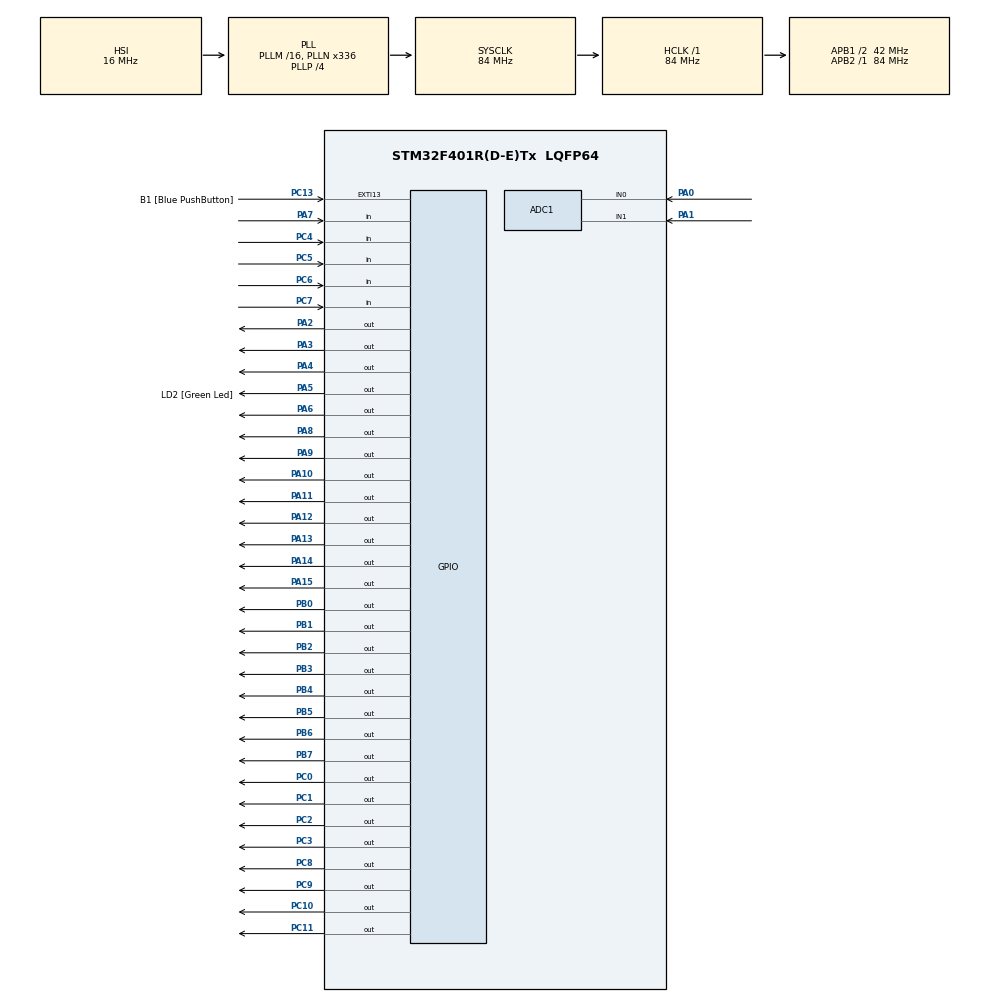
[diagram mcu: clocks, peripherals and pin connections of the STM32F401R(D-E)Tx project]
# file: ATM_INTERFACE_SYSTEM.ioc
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ADC1.Channel-0\#ChannelRegularConversion=ADC_CHANNEL_0
ADC1.NbrOfConversionFlag=1
ADC1.Rank-0\#ChannelRegularConversion=1
ADC1.SamplingTime-0\#ChannelRegularConversion=ADC_SAMPLETIME_3CYCLES
ADC1.master=1
Mcu.Family=STM32F4
Mcu.Name=STM32F401R(D-E)Tx
Mcu.Package=LQFP64
NVIC.PriorityGroup=NVIC_PRIORITYGROUP_4
PA0-WKUP.Signal=ADCx_IN0
PA1.Signal=ADCx_IN1
PA10.Signal=GPIO_Output
PA11.Signal=GPIO_Output
PA12.Signal=GPIO_Output
PA13.Signal=GPIO_Output
PA14.Signal=GPIO_Output
PA15.Signal=GPIO_Output
PA2.Signal=GPIO_Output
PA3.Signal=GPIO_Output
PA4.Signal=GPIO_Output
PA5.GPIO_Label=LD2 [Green Led]
PA5.GPIO_Mode=GPIO_MODE_OUTPUT_PP
PA5.GPIO_PuPd=GPIO_NOPULL
PA5.GPIO_Speed=GPIO_SPEED_FREQ_LOW
PA5.Signal=GPIO_Output
PA6.Signal=GPIO_Output
PA7.GPIO_PuPd=GPIO_PULLUP
PA7.Signal=GPIO_Input
PA8.Signal=GPIO_Output
PA9.Signal=GPIO_Output
PB0.Signal=GPIO_Output
PB1.Signal=GPIO_Output
PB2.Signal=GPIO_Output
PB3.Signal=GPIO_Output
PB4.Signal=GPIO_Output
PB5.Signal=GPIO_Output
PB6.Signal=GPIO_Output
PB7.Signal=GPIO_Output
PC0.Signal=GPIO_Output
PC1.Signal=GPIO_Output
PC10.Signal=GPIO_Output
PC11.Signal=GPIO_Output
PC13-ANTI_TAMP.GPIO_Label=B1 [Blue PushButton]
PC13-ANTI_TAMP.GPIO_ModeDefaultEXTI=GPIO_MODE_IT_FALLING
PC13-ANTI_TAMP.GPIO_PuPd=GPIO_NOPULL
PC13-ANTI_TAMP.Signal=GPXTI13
PC14-OSC32_IN.Mode=LSE-External-Oscillator
PC14-OSC32_IN.Signal=RCC_OSC32_IN
PC15-OSC32_OUT.Mode=LSE-External-Oscillator
PC15-OSC32_OUT.Signal=RCC_OSC32_OUT
PC2.Signal=GPIO_Output
PC3.Signal=GPIO_Output
PC4.GPIO_PuPd=GPIO_PULLUP
PC4.Signal=GPIO_Input
PC5.GPIO_PuPd=GPIO_PULLUP
PC5.Signal=GPIO_Input
PC6.GPIO_PuPd=GPIO_PULLUP
PC6.Signal=GPIO_Input
PC7.GPIO_PuPd=GPIO_PULLUP
PC7.Signal=GPIO_Input
PC8.Signal=GPIO_Output
PC9.Signal=GPIO_Output
PH0\ -\ OSC_IN.Mode=HSE-External-Clock-Source
PH0\ -\ OSC_IN.Signal=RCC_OSC_IN
PH1\ -\ OSC_OUT.Mode=HSE-External-Clock-Source
PH1\ -\ OSC_OUT.Signal=RCC_OSC_OUT
ProjectManager.HeapSize=0x200
ProjectManager.StackSize=0x400
ProjectManager.TargetToolchain=STM32CubeIDE
RCC.48MHZClocksFreq_Value=48000000
RCC.AHBFreq_Value=84000000
RCC.APB1CLKDivider=RCC_HCLK_DIV2
RCC.APB1Freq_Value=42000000
RCC.APB1TimFreq_Value=84000000
RCC.APB2Freq_Value=84000000
RCC.APB2TimFreq_Value=84000000
RCC.CortexFreq_Value=84000000
RCC.HCLKFreq_Value=84000000
RCC.HSE_VALUE=8000000
RCC.HSI_VALUE=16000000
RCC.PLLN=336
RCC.PLLP=RCC_PLLP_DIV4
RCC.PLLQ=7
RCC.SYSCLKFreq_VALUE=84000000
RCC.SYSCLKSource=RCC_SYSCLKSOURCE_PLLCLK
RCC.VCOOutputFreq_Value=336000000
SH.ADCx_IN0.0=ADC1_IN0,IN0
SH.ADCx_IN1.0=ADC1_IN1,IN1
board=NUCLEO-F401RE

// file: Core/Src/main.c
/* USER CODE BEGIN Header */
/**
 ******************************************************************************
 * @file           : main.c
 * @brief          : Main program body
 ******************************************************************************
 * @attention
 *
 * Copyright (c) 2026 STMicroelectronics.
 * All rights reserved.
 *
 * This software is licensed under terms that can be found in the LICENSE file
 * in the root directory of this software component.
 * If no LICENSE file comes with this software, it is provided AS-IS.
 *
 ******************************************************************************
 */
/* USER CODE END Header */
#include "main.h"
/* USER CODE BEGIN Includes */
#include "stdio.h"
#include "string.h"
/* USER CODE END Includes */

/* USER CODE BEGIN PD */
void lcd_init();
void lcd_cmd(unsigned char);
void lcd_data(unsigned char);
void lcd_str(const char *p);
char get_key(void);
void display_num(uint16_t num);
void show_seg(uint8_t pattern);
uint16_t read_joystick(void);
void lcd_set_cursor(uint8_t, uint8_t);
/* USER CODE END PD */

ADC_HandleTypeDef hadc1;

void SystemClock_Config(void);
static void MX_GPIO_Init(void);
static void MX_ADC1_Init(void);

/* USER CODE BEGIN 0 */

//for lcd data
int data_line[8] = { GPIO_PIN_8, GPIO_PIN_9, GPIO_PIN_10, GPIO_PIN_11,
		GPIO_PIN_12, GPIO_PIN_13, GPIO_PIN_14, GPIO_PIN_15 };

// Common Anode Lookup Table (0-9)
const uint8_t ca_map[10] = {
    0xC0, // 0
    0xF9, // 1
    0xA4, // 2
    0xB0, // 3
    0x99, // 4
    0x92, // 5
    0x82, // 6
    0xF8, // 7
    0x80, // 8
    0x90  // 9
};

//----------------------------ATM MENU------------------------------------------
typedef enum {
	STATE_ENTER_PIN, STATE_MENU, STATE_BALANCE, STATE_WITHDRAW, STATE_TOKEN,
} Atm_state;

//--------------------------MENU OPTIONS------------------------------------------
const char *menu_options[] = { "1. Check Balance", "2. Withdraw Amount",
		"3. View Token" };
/* USER CODE END 0 */

int main(void) {

	/* Reset of all peripherals, Initializes the Flash interface and the Systick. */
	HAL_Init();

	/* Configure the system clock */
	SystemClock_Config();

	/* Initialize all configured peripherals */
	MX_GPIO_Init();
	MX_ADC1_Init();
	/* USER CODE BEGIN 2 */

	//----------initial status leds-------------------------
	HAL_GPIO_WritePin(GPIOA, GPIO_PIN_5, GPIO_PIN_RESET);
	HAL_GPIO_WritePin(GPIOA, GPIO_PIN_6, GPIO_PIN_RESET);

	//------------turn off 7 segment display -----------------------
	HAL_GPIO_WritePin(GPIOC, GPIO_PIN_8 | GPIO_PIN_9 | GPIO_PIN_10 | GPIO_PIN_11, GPIO_PIN_RESET);

	//---------initialize lcd---------------------------------
	lcd_init();
	lcd_cmd(0x80);
	lcd_str("---ATM SYSTEM---");
	lcd_cmd(0xC0);
	lcd_str("Enter PIN: ");

//--------------application variables------------------------

	Atm_state current_state = STATE_ENTER_PIN;

	char entered_pin[5] = { 0 };   //store pin here
	uint8_t pin_index = 0;         //stored pin index

	uint16_t withdraw_amt = 0;    //withdraw amount store here

	uint16_t balance = 9000;
	uint16_t seg_display_val = 0;    //multiplex the 7 segment display initially
	uint16_t token_no = 1;          //initial token number
	uint32_t last_joy_time = 0;          //joystick time
	int menu_sel = 0;           //atm menu index: 0. Balance 1.Withdraw 2. Token

	/* USER CODE END 2 */

	/* Infinite loop */
	while (1) {

		// 1. Continuous multiplexed display on 7-segment (~40ms per iteration)
		for (int i = 0; i < 5; i++) {
			display_num(seg_display_val);
		}

		// 2. Read Pressed Key
		char key = get_key();

		// 3. ATM states machine

		switch (current_state) {
		/*-----------------------------------------------------------------------------------------
		 ===================================STATE 1. PIN ENTRY===================================*/
		case STATE_ENTER_PIN:
			seg_display_val = 0;
			if (key >= '0' && key <= '9') {
				if (pin_index < 4) {
					entered_pin[pin_index] = key;
					pin_index++;
					HAL_Delay(100);
					lcd_data('*');
				}
			} else if (key == 'O') {    // Fixed: Moved outside digit check
				pin_index = 0;
				memset(entered_pin, 0, sizeof(entered_pin));
				lcd_set_cursor(1, 11);
				lcd_str("    ");
				lcd_set_cursor(1, 11);
			}

			if (pin_index == 4) {
				HAL_Delay(300);
				if (strcmp(entered_pin, "1234") == 0) {
					current_state = STATE_MENU;
					menu_sel = 0;
					HAL_GPIO_WritePin(GPIOA, GPIO_PIN_5, GPIO_PIN_SET); // Green LED ON
					HAL_Delay(200);
					HAL_GPIO_WritePin(GPIOA, GPIO_PIN_5, GPIO_PIN_RESET);
					lcd_cmd(0x01);
					lcd_set_cursor(0, 0);
					lcd_str(menu_options[menu_sel]);
					lcd_set_cursor(1, 0);
					lcd_str("Joystick + '='");
				} else {
					HAL_GPIO_WritePin(GPIOA, GPIO_PIN_6, GPIO_PIN_SET); // Red Error LED ON
					lcd_cmd(0x01);
					lcd_set_cursor(0, 0);
					lcd_str("Wrong PIN! Retry");
					HAL_Delay(1200);
					HAL_GPIO_WritePin(GPIOA, GPIO_PIN_6, GPIO_PIN_RESET);
					pin_index = 0;
					memset(entered_pin, 0, sizeof(entered_pin));
					lcd_cmd(0x01);
					lcd_set_cursor(0, 0);
					lcd_str("---ATM SYSTEM---");
					lcd_set_cursor(1, 0);
					lcd_str("Enter PIN: ");
				}
			}
			break;

			/*----------------------------------------------------------------------------------------------
			 ===================================STATE 2. MENU NAVIGATION===================================*/
		case STATE_MENU:
			if (HAL_GetTick() - last_joy_time > 250) {
				uint16_t joy_val = read_joystick();
				last_joy_time = HAL_GetTick();

				int prev_sel = menu_sel;

				if (joy_val > 3000) { // Joystick UP
					if (menu_sel > 0)
						menu_sel--;
				} else if (joy_val < 1000) { // Joystick DOWN
					if (menu_sel < 2)
						menu_sel++;
				}

				// Redraw LCD only when menu item actually changes
				if (prev_sel != menu_sel) {
					lcd_cmd(0x01);
					lcd_set_cursor(0, 0);
					lcd_str(menu_options[menu_sel]);
					lcd_set_cursor(1, 0);
				}
			}
			//===============select option menu by selecting "=" on keypad or switch on PA7=====================================

			if (HAL_GPIO_ReadPin(GPIOA, GPIO_PIN_7) == GPIO_PIN_RESET || key == '=') {
				HAL_Delay(200);
				lcd_cmd(0x01);

				if (menu_sel == 0) {                    //check balance
					current_state = STATE_BALANCE;
					seg_display_val = balance;
					lcd_set_cursor(0, 0);
					lcd_str("A/c Balance:");
					lcd_set_cursor(1, 0);
					char buf[16];
					sprintf(buf, "$%u (O:Back)", balance); // Shows Balance on LCD
					lcd_str(buf);
				} else if (menu_sel == 1) {               //withdraw amount
					current_state = STATE_WITHDRAW;
					withdraw_amt = 0;
					lcd_set_cursor(0, 0);
					lcd_str("Enter Amnt:");
					lcd_set_cursor(1, 0);
					lcd_str("=:OK   O:Cancel");
					lcd_set_cursor(0, 12);
					seg_display_val = 0;
				} else if (menu_sel == 2) {               //view token
					current_state = STATE_TOKEN;
					token_no++;
					if (token_no > 9999) {
						token_no = 1;
					}
					seg_display_val = token_no;
					lcd_str("Token Number: ");
					lcd_set_cursor(1, 0);
					char buf[16];
					sprintf(buf, "Token: %04u", token_no);
					lcd_str(buf);
				}
			}
			break;

			/*----------------------------------------------------------------------------------------------
			 ====================================STATE 3. VIEW BALANCE===================================*/
		case STATE_BALANCE:
			seg_display_val = balance;

			if (key == 'O' || HAL_GPIO_ReadPin(GPIOA, GPIO_PIN_7) == GPIO_PIN_RESET) {
				current_state = STATE_MENU;
				lcd_cmd(0x01);
				char buf[6];
				sprintf(buf, "%04u", balance);
				lcd_str(buf);
				lcd_set_cursor(0, 0);
				lcd_str(menu_options[menu_sel]);
				lcd_set_cursor(1, 0);
				lcd_str("Joystick + '='");
				seg_display_val = 0;
			}
			break;

			/*----------------------------------------------------------------------------------------------
			 ===================================STATE 4. WITHDRAW AMOUNT===================================*/
		case STATE_WITHDRAW:
			display_num(token_no);
			if (key >= '0' && key <= '9') {
				if (withdraw_amt < 1000) {
					withdraw_amt = (withdraw_amt * 10) + (key - '0');
					seg_display_val = withdraw_amt;               //<----------------------------------------

					lcd_set_cursor(0, 12);
					char buf[6];
					sprintf(buf, "%04u", withdraw_amt);
					lcd_str(buf);
				}
			} else if (key == '=') {
				lcd_cmd(0x01);
				if (withdraw_amt > 0 && withdraw_amt <= balance) {
					balance -= withdraw_amt;
					seg_display_val = balance;                  //<------------------------------------
					HAL_GPIO_WritePin(GPIOA, GPIO_PIN_5, 1);     //green light flash
					HAL_Delay(100);
					lcd_set_cursor(0, 0);
					lcd_str("Withdraw Success");
					lcd_set_cursor(1, 0);
					lcd_str("Please Take Cash");
					HAL_Delay(100);
					lcd_cmd(0x01);
					char buf[16];
					sprintf(buf, "Token: %04u", token_no);
					lcd_str(buf);
					HAL_GPIO_WritePin(GPIOA, GPIO_PIN_5, 0);
				}
				else {
					HAL_GPIO_WritePin(GPIOA, GPIO_PIN_6, GPIO_PIN_SET);
					HAL_Delay(100);
					lcd_set_cursor(0, 0);
					lcd_str("Invalid Amount");
					HAL_GPIO_WritePin(GPIOA, GPIO_PIN_6, GPIO_PIN_RESET);   //rred light off
				}
				HAL_Delay(1500);
				current_state = STATE_MENU;
				lcd_cmd(0x01);
				lcd_set_cursor(0, 0);
				lcd_str(menu_options[menu_sel]);
				lcd_set_cursor(1, 0);
				seg_display_val = 0;

			} else if (key == 'O') {
				current_state = STATE_MENU;
				seg_display_val = 0;
				lcd_cmd(0x01);
				lcd_set_cursor(0, 0);
				lcd_str(menu_options[menu_sel]);
				lcd_set_cursor(1, 0);
				lcd_str("Joystick + '='");
			}
			break;

			/*----------------------------------------------------------------------------------------------
			 ===================================STATE 5. SHOW TOKEN========================================*/
		case STATE_TOKEN:
			seg_display_val = token_no;
			if (key == 'O' || HAL_GPIO_ReadPin(GPIOA, GPIO_PIN_7) == GPIO_PIN_RESET) {
				current_state = STATE_MENU;
				lcd_cmd(0x01);
				lcd_set_cursor(0, 0);
				lcd_str(menu_options[menu_sel]);
				lcd_set_cursor(1, 0);
				lcd_str("Joystick + '='");
				seg_display_val = 0;
			}
			break;
		}

	}
}
/*===================================================================================================
 ------------------------------------------READ JOYSTICK---------------------------------------------*/

uint16_t read_joystick(void) {
	HAL_ADC_Start(&hadc1);
	HAL_ADC_PollForConversion(&hadc1, 10);
	uint16_t value = HAL_ADC_GetValue(&hadc1);
	HAL_ADC_Stop(&hadc1);
	return value;
}
/*==================================================================================================
 ---------------------------------------SEGMENT DISPLAY--------------------------------------------*/

void show_seg(uint8_t pattern) {
	//check for segment a
	if ((pattern & 0x01) != 0) {
		HAL_GPIO_WritePin(GPIOB, GPIO_PIN_0, GPIO_PIN_SET);
	} else {
		HAL_GPIO_WritePin(GPIOB, GPIO_PIN_0, GPIO_PIN_RESET);
	}

	//check for segment b
	if ((pattern & 0x02) != 0) {
		HAL_GPIO_WritePin(GPIOB, GPIO_PIN_1, GPIO_PIN_SET);
	} else {
		HAL_GPIO_WritePin(GPIOB, GPIO_PIN_1, GPIO_PIN_RESET);
	}

	//check for segment c
	if ((pattern & 0x04) != 0) {
		HAL_GPIO_WritePin(GPIOB, GPIO_PIN_2, GPIO_PIN_SET);
	} else {
		HAL_GPIO_WritePin(GPIOB, GPIO_PIN_2, GPIO_PIN_RESET);
	}

	//check for segment d
	if ((pattern & 0x08) != 0) {
		HAL_GPIO_WritePin(GPIOB, GPIO_PIN_3, GPIO_PIN_SET);
	} else {
		HAL_GPIO_WritePin(GPIOB, GPIO_PIN_3, GPIO_PIN_RESET);
	}

	//check for segment e
	if ((pattern & 0x10) != 0) {
		HAL_GPIO_WritePin(GPIOB, GPIO_PIN_4, GPIO_PIN_SET);
	} else {
		HAL_GPIO_WritePin(GPIOB, GPIO_PIN_4, GPIO_PIN_RESET);
	}

	//check for segment f
	if ((pattern & 0x20) != 0) {
		HAL_GPIO_WritePin(GPIOB, GPIO_PIN_5, GPIO_PIN_SET);
	} else {
		HAL_GPIO_WritePin(GPIOB, GPIO_PIN_5, GPIO_PIN_RESET);
	}

	//check for segment g
	if ((pattern & 0x40) != 0) {
		HAL_GPIO_WritePin(GPIOB, GPIO_PIN_6, GPIO_PIN_SET);
	} else {
		HAL_GPIO_WritePin(GPIOB, GPIO_PIN_6, GPIO_PIN_RESET);
	}

	//check for segment dp
	if ((pattern & 0x80) != 0) {
		HAL_GPIO_WritePin(GPIOB, GPIO_PIN_7, GPIO_PIN_SET);
	} else {
		HAL_GPIO_WritePin(GPIOB, GPIO_PIN_7, GPIO_PIN_RESET);
	}
}

/*==========================================================================================================
 ----------------------------------------------------DISPLAY NUMBER-----------------------------------------*/

void display_num(uint16_t num) {
    uint8_t dg1 = (num / 1000) % 10;
    uint8_t dg2 = (num / 100) % 10;
    uint8_t dg3 = (num / 10) % 10;
    uint8_t dg4 = num % 10;

    // ==================== DIGIT 1 (Thousands) ====================
    // 1. Turn OFF all digit anodes
    HAL_GPIO_WritePin(GPIOC, GPIO_PIN_8 | GPIO_PIN_9 | GPIO_PIN_10 | GPIO_PIN_11, GPIO_PIN_RESET);
    // 2. Clear all segment cathodes (all HIGH = all segments OFF in Common Anode)
    show_seg(0xFF);
    // 3. Load segment pattern
    show_seg(ca_map[dg1]);
    // 4. Turn ON Digit 1 anode
    HAL_GPIO_WritePin(GPIOC, GPIO_PIN_8, GPIO_PIN_SET);
    HAL_Delay(2);

    // ==================== DIGIT 2 (Hundreds) ====================
    HAL_GPIO_WritePin(GPIOC, GPIO_PIN_8 | GPIO_PIN_9 | GPIO_PIN_10 | GPIO_PIN_11, GPIO_PIN_RESET);
    show_seg(0xFF);
    show_seg(ca_map[dg2]);
    HAL_GPIO_WritePin(GPIOC, GPIO_PIN_9, GPIO_PIN_SET);
    HAL_Delay(2);

    // ==================== DIGIT 3 (Tens) ====================
    HAL_GPIO_WritePin(GPIOC, GPIO_PIN_8 | GPIO_PIN_9 | GPIO_PIN_10 | GPIO_PIN_11, GPIO_PIN_RESET);
    show_seg(0xFF);
    show_seg(ca_map[dg3]);
    HAL_GPIO_WritePin(GPIOC, GPIO_PIN_10, GPIO_PIN_SET);
    HAL_Delay(2);

    // ==================== DIGIT 4 (Units) ====================
    HAL_GPIO_WritePin(GPIOC, GPIO_PIN_8 | GPIO_PIN_9 | GPIO_PIN_10 | GPIO_PIN_11, GPIO_PIN_RESET);
    show_seg(0xFF);
    show_seg(ca_map[dg4]);
    HAL_GPIO_WritePin(GPIOC, GPIO_PIN_11, GPIO_PIN_SET);
    HAL_Delay(2);

    // Turn off Digit 4 and clear segments before leaving
    HAL_GPIO_WritePin(GPIOC, GPIO_PIN_8 | GPIO_PIN_9 | GPIO_PIN_10 | GPIO_PIN_11, GPIO_PIN_RESET);
    show_seg(0xFF);
}

/*===========================================================================================================
 -------------------------------------------KEYPAD INITIALIZATION--------------------------------------------*/

char get_key(void) {
	//-----------SCAN FOR ROW 1---------------------
	HAL_GPIO_WritePin(GPIOC, GPIO_PIN_0, GPIO_PIN_RESET); //c0=0, c1=c2=c3=1
	HAL_GPIO_WritePin(GPIOC, GPIO_PIN_1 | GPIO_PIN_2 | GPIO_PIN_3,
			GPIO_PIN_SET);

	//----if button 1 is pressed-----
	if (HAL_GPIO_ReadPin(GPIOC, GPIO_PIN_4) == GPIO_PIN_RESET) {
		HAL_Delay(100);
		return '7';
	}

	//----if button 5 is pressed-----
	if (HAL_GPIO_ReadPin(GPIOC, GPIO_PIN_5) == GPIO_PIN_RESET) {
		HAL_Delay(100);
		return '8';
	}

	//----if button 9 is pressed-----
	if (HAL_GPIO_ReadPin(GPIOC, GPIO_PIN_6) == GPIO_PIN_RESET) {
		HAL_Delay(100);
		return '9';
	}

	//----if button 13 is pressed-----
	if (HAL_GPIO_ReadPin(GPIOC, GPIO_PIN_7) == GPIO_PIN_RESET) {
		HAL_Delay(100);
		return '/';
	}

	//-----------SCAN FOR ROW 2---------------------
	HAL_GPIO_WritePin(GPIOC, GPIO_PIN_1, GPIO_PIN_RESET); //c1=0, c0=c2=c3=1
	HAL_GPIO_WritePin(GPIOC, GPIO_PIN_0 | GPIO_PIN_2 | GPIO_PIN_3,
			GPIO_PIN_SET);

	//----if button 2 is pressed-----
	if (HAL_GPIO_ReadPin(GPIOC, GPIO_PIN_4) == GPIO_PIN_RESET) {
		HAL_Delay(100);
		return '4';
	}

	//----if button 6 is pressed-----
	if (HAL_GPIO_ReadPin(GPIOC, GPIO_PIN_5) == GPIO_PIN_RESET) {
		HAL_Delay(100);
		return '5';
	}

	//----if button 10 is pressed-----
	if (HAL_GPIO_ReadPin(GPIOC, GPIO_PIN_6) == GPIO_PIN_RESET) {
		HAL_Delay(100);
		return '6';
	}

	//----if button 14 is pressed-----
	if (HAL_GPIO_ReadPin(GPIOC, GPIO_PIN_7) == GPIO_PIN_RESET) {
		HAL_Delay(100);
		return 'X';
	}

	//-----------SCAN FOR ROW 3---------------------
	HAL_GPIO_WritePin(GPIOC, GPIO_PIN_2, GPIO_PIN_RESET); //c2=0, c1=c0=c3=1
	HAL_GPIO_WritePin(GPIOC, GPIO_PIN_1 | GPIO_PIN_0 | GPIO_PIN_3,
			GPIO_PIN_SET);

	//----if button 3 is pressed-----
	if (HAL_GPIO_ReadPin(GPIOC, GPIO_PIN_4) == GPIO_PIN_RESET) {
		HAL_Delay(100);
		return '1';
	}

	//----if button 7 is pressed-----
	if (HAL_GPIO_ReadPin(GPIOC, GPIO_PIN_5) == GPIO_PIN_RESET) {
		HAL_Delay(100);
		return '2';
	}

	//----if button 11 is pressed-----
	if (HAL_GPIO_ReadPin(GPIOC, GPIO_PIN_6) == GPIO_PIN_RESET) {
		HAL_Delay(100);
		return '3';
	}

	//----if button 15 is pressed-----
	if (HAL_GPIO_ReadPin(GPIOC, GPIO_PIN_7) == GPIO_PIN_RESET) {
		HAL_Delay(100);
		return '-';
	}

	//-----------SCAN FOR ROW 4---------------------
	HAL_GPIO_WritePin(GPIOC, GPIO_PIN_3, GPIO_PIN_RESET); //c3=0, c1=c2=c0=1
	HAL_GPIO_WritePin(GPIOC, GPIO_PIN_1 | GPIO_PIN_2 | GPIO_PIN_0,
			GPIO_PIN_SET);

	//----if button 4 is pressed-----
	if (HAL_GPIO_ReadPin(GPIOC, GPIO_PIN_4) == GPIO_PIN_RESET) {
		HAL_Delay(100);
		return 'O';
	}

	//----if button 8 is pressed-----
	if (HAL_GPIO_ReadPin(GPIOC, GPIO_PIN_5) == GPIO_PIN_RESET) {
		HAL_Delay(100);
		return '0';
	}

	//----if button 12 is pressed-----
	if (HAL_GPIO_ReadPin(GPIOC, GPIO_PIN_6) == GPIO_PIN_RESET) {
		HAL_Delay(100);
		return '=';
	}

	//----if button 16 is pressed-----
	if (HAL_GPIO_ReadPin(GPIOC, GPIO_PIN_7) == GPIO_PIN_RESET) {
		HAL_Delay(100);
		return '+';
	}
	return '\0';
}

/*===============================================================================================================
 -----------------------------------------------LCD INITIALIZATION------------------------------------------------*/
void lcd_init(void) {
	HAL_Delay(50);
	lcd_cmd(0x38);
	HAL_Delay(1);
	lcd_cmd(0x0C);
	HAL_Delay(1);
	lcd_cmd(0x06);
	HAL_Delay(1);
	lcd_cmd(0x01);
	HAL_Delay(1);
}

/*===============================================================================================================
 -------------------------------------------------LCD COMMAND----------------------------------------------------*/

void lcd_cmd(unsigned char c) {
	HAL_GPIO_WritePin(GPIOA, GPIO_PIN_2, GPIO_PIN_RESET);  //rs=0
	HAL_GPIO_WritePin(GPIOA, GPIO_PIN_3, GPIO_PIN_RESET);  //rw=0
	for (int i = 0; i < 8; i++) {
		HAL_GPIO_WritePin(GPIOA, data_line[i], (c >> i) & 1);
	}
	HAL_GPIO_WritePin(GPIOA, GPIO_PIN_4, GPIO_PIN_SET);  //en=1
	HAL_Delay(1);
	HAL_GPIO_WritePin(GPIOA, GPIO_PIN_4, GPIO_PIN_RESET);  //en=0
}
/*=================================================================================================================
 ---------------------------------------------------LCD DATA---------------------------------------------------*/

void lcd_data(unsigned char d) {
	HAL_GPIO_WritePin(GPIOA, GPIO_PIN_2, GPIO_PIN_SET);  //rs=1
	HAL_GPIO_WritePin(GPIOA, GPIO_PIN_3, GPIO_PIN_RESET);  //rw=0
	for (int i = 0; i < 8; i++) {
		HAL_GPIO_WritePin(GPIOA, data_line[i], (d >> i) & 1);
	}
	HAL_GPIO_WritePin(GPIOA, GPIO_PIN_4, GPIO_PIN_SET);  //en=1
	HAL_Delay(1);
	HAL_GPIO_WritePin(GPIOA, GPIO_PIN_4, GPIO_PIN_RESET);  //en=0
}

/*=================================================================================================================
 -------------------------------------------------------LCD STRING------------------------------------------------*/

void lcd_str(const char *p) {
	while (*p != '\0') {
		lcd_data(*p);
		p++;
	}
}

/*=================================================================================================================
 ------------------------------------------------------LCD SET CURSOR-------------------------------------------*/

void lcd_set_cursor(uint8_t row, uint8_t col) {
	if (row == 0) {
		lcd_cmd(0x80 + col);
	} else {
		lcd_cmd(0xC0 + col);
	}
}

/*================================================================================================================*/
void SystemClock_Config(void) {
	RCC_OscInitTypeDef RCC_OscInitStruct = { 0 };
	RCC_ClkInitTypeDef RCC_ClkInitStruct = { 0 };

	/** Configure the main internal regulator output voltage
	 */
	__HAL_RCC_PWR_CLK_ENABLE();
	__HAL_PWR_VOLTAGESCALING_CONFIG(PWR_REGULATOR_VOLTAGE_SCALE2);

	/** Initializes the RCC Oscillators according to the specified parameters
	 * in the RCC_OscInitTypeDef structure.
	 */
	RCC_OscInitStruct.OscillatorType = RCC_OSCILLATORTYPE_HSI;
	RCC_OscInitStruct.HSIState = RCC_HSI_ON;
	RCC_OscInitStruct.HSICalibrationValue = RCC_HSICALIBRATION_DEFAULT;
	RCC_OscInitStruct.PLL.PLLState = RCC_PLL_ON;
	RCC_OscInitStruct.PLL.PLLSource = RCC_PLLSOURCE_HSI;
	RCC_OscInitStruct.PLL.PLLM = 16;
	RCC_OscInitStruct.PLL.PLLN = 336;
	RCC_OscInitStruct.PLL.PLLP = RCC_PLLP_DIV4;
	RCC_OscInitStruct.PLL.PLLQ = 7;
	if (HAL_RCC_OscConfig(&RCC_OscInitStruct) != HAL_OK) {
		Error_Handler();
	}

	/** Initializes the CPU, AHB and APB buses clocks
	 */
	RCC_ClkInitStruct.ClockType = RCC_CLOCKTYPE_HCLK | RCC_CLOCKTYPE_SYSCLK
			| RCC_CLOCKTYPE_PCLK1 | RCC_CLOCKTYPE_PCLK2;
	RCC_ClkInitStruct.SYSCLKSource = RCC_SYSCLKSOURCE_PLLCLK;
	RCC_ClkInitStruct.AHBCLKDivider = RCC_SYSCLK_DIV1;
	RCC_ClkInitStruct.APB1CLKDivider = RCC_HCLK_DIV2;
	RCC_ClkInitStruct.APB2CLKDivider = RCC_HCLK_DIV1;

	if (HAL_RCC_ClockConfig(&RCC_ClkInitStruct, FLASH_LATENCY_2) != HAL_OK) {
		Error_Handler();
	}
}

static void MX_ADC1_Init(void) {

	ADC_ChannelConfTypeDef sConfig = { 0 };

	/** Configure the global features of the ADC (Clock, Resolution, Data Alignment and number of conversion)
	 */
	hadc1.Instance = ADC1;
	hadc1.Init.ClockPrescaler = ADC_CLOCK_SYNC_PCLK_DIV4;
	hadc1.Init.Resolution = ADC_RESOLUTION_12B;
	hadc1.Init.ScanConvMode = DISABLE;
	hadc1.Init.ContinuousConvMode = DISABLE;
	hadc1.Init.DiscontinuousConvMode = DISABLE;
	hadc1.Init.ExternalTrigConvEdge = ADC_EXTERNALTRIGCONVEDGE_NONE;
	hadc1.Init.ExternalTrigConv = ADC_SOFTWARE_START;
	hadc1.Init.DataAlign = ADC_DATAALIGN_RIGHT;
	hadc1.Init.NbrOfConversion = 1;
	hadc1.Init.DMAContinuousRequests = DISABLE;
	hadc1.Init.EOCSelection = ADC_EOC_SINGLE_CONV;
	if (HAL_ADC_Init(&hadc1) != HAL_OK) {
		Error_Handler();
	}

	/** Configure for the selected ADC regular channel its corresponding rank in the sequencer and its sample time.
	 */
	sConfig.Channel = ADC_CHANNEL_0;
	sConfig.Rank = 1;
	sConfig.SamplingTime = ADC_SAMPLETIME_3CYCLES;
	if (HAL_ADC_ConfigChannel(&hadc1, &sConfig) != HAL_OK) {
		Error_Handler();
	}

}

static void MX_GPIO_Init(void) {
	GPIO_InitTypeDef GPIO_InitStruct = { 0 };

	/* GPIO Ports Clock Enable */
	__HAL_RCC_GPIOC_CLK_ENABLE();
	__HAL_RCC_GPIOH_CLK_ENABLE();
	__HAL_RCC_GPIOA_CLK_ENABLE();
	__HAL_RCC_GPIOB_CLK_ENABLE();

	/*Configure GPIO pin Output Level */
	HAL_GPIO_WritePin(GPIOC,
			GPIO_PIN_0 | GPIO_PIN_1 | GPIO_PIN_2 | GPIO_PIN_3 | GPIO_PIN_8
					| GPIO_PIN_9 | GPIO_PIN_10 | GPIO_PIN_11, GPIO_PIN_RESET);

	/*Configure GPIO pin Output Level */
	HAL_GPIO_WritePin(GPIOA,
			GPIO_PIN_2 | GPIO_PIN_3 | GPIO_PIN_4 | LD2_Pin | GPIO_PIN_6
					| GPIO_PIN_8 | GPIO_PIN_9 | GPIO_PIN_10 | GPIO_PIN_11
					| GPIO_PIN_12 | GPIO_PIN_13 | GPIO_PIN_14 | GPIO_PIN_15,
			GPIO_PIN_RESET);

	/*Configure GPIO pin Output Level */
	HAL_GPIO_WritePin(GPIOB,
			GPIO_PIN_0 | GPIO_PIN_1 | GPIO_PIN_2 | GPIO_PIN_3 | GPIO_PIN_4
					| GPIO_PIN_5 | GPIO_PIN_6 | GPIO_PIN_7, GPIO_PIN_RESET);

	/*Configure GPIO pin : B1_Pin */
	GPIO_InitStruct.Pin = B1_Pin;
	GPIO_InitStruct.Mode = GPIO_MODE_IT_FALLING;
	GPIO_InitStruct.Pull = GPIO_NOPULL;
	HAL_GPIO_Init(B1_GPIO_Port, &GPIO_InitStruct);

	GPIO_InitStruct.Pin = GPIO_PIN_0;
	GPIO_InitStruct.Mode = GPIO_MODE_ANALOG;
	GPIO_InitStruct.Pull = GPIO_NOPULL;
	HAL_GPIO_Init(GPIOA, &GPIO_InitStruct);

	/*Configure GPIO pins : PC0 PC1 PC2 PC3
	 PC8 PC9 PC10 PC11 */
	GPIO_InitStruct.Pin = GPIO_PIN_0 | GPIO_PIN_1 | GPIO_PIN_2 | GPIO_PIN_3
			| GPIO_PIN_8 | GPIO_PIN_9 | GPIO_PIN_10 | GPIO_PIN_11;
	GPIO_InitStruct.Mode = GPIO_MODE_OUTPUT_PP;
	GPIO_InitStruct.Pull = GPIO_NOPULL;
	GPIO_InitStruct.Speed = GPIO_SPEED_FREQ_LOW;
	HAL_GPIO_Init(GPIOC, &GPIO_InitStruct);

	/*Configure GPIO pins : PA2 PA3 PA4 LD2_Pin
	 PA6 PA8 PA9 PA10
	 PA11 PA12 PA13 PA14
	 PA15 */
	GPIO_InitStruct.Pin = GPIO_PIN_2 | GPIO_PIN_3 | GPIO_PIN_4 | GPIO_PIN_5 | LD2_Pin
			| GPIO_PIN_6 | GPIO_PIN_8 | GPIO_PIN_9 | GPIO_PIN_10 | GPIO_PIN_11
			| GPIO_PIN_12 | GPIO_PIN_13 | GPIO_PIN_14 | GPIO_PIN_15;
	GPIO_InitStruct.Mode = GPIO_MODE_OUTPUT_PP;
	GPIO_InitStruct.Pull = GPIO_NOPULL;
	GPIO_InitStruct.Speed = GPIO_SPEED_FREQ_LOW;
	HAL_GPIO_Init(GPIOA, &GPIO_InitStruct);

	/*Configure GPIO pin : PA7 */
	GPIO_InitStruct.Pin = GPIO_PIN_7;
	GPIO_InitStruct.Mode = GPIO_MODE_INPUT;
	GPIO_InitStruct.Pull = GPIO_PULLUP;
	HAL_GPIO_Init(GPIOA, &GPIO_InitStruct);

	/*Configure GPIO pins : PC4 PC5 PC6 PC7 */
	GPIO_InitStruct.Pin = GPIO_PIN_4 | GPIO_PIN_5 | GPIO_PIN_6 | GPIO_PIN_7;
	GPIO_InitStruct.Mode = GPIO_MODE_INPUT;
	GPIO_InitStruct.Pull = GPIO_PULLUP;
	HAL_GPIO_Init(GPIOC, &GPIO_InitStruct);

	/*Configure GPIO pins : PB0 PB1 PB2 PB3
	 PB4 PB5 PB6 PB7 */
	GPIO_InitStruct.Pin = GPIO_PIN_0 | GPIO_PIN_1 | GPIO_PIN_2 | GPIO_PIN_3
			| GPIO_PIN_4 | GPIO_PIN_5 | GPIO_PIN_6 | GPIO_PIN_7;
	GPIO_InitStruct.Mode = GPIO_MODE_OUTPUT_PP;
	GPIO_InitStruct.Pull = GPIO_NOPULL;
	GPIO_InitStruct.Speed = GPIO_SPEED_FREQ_LOW;
	HAL_GPIO_Init(GPIOB, &GPIO_InitStruct);

}

void Error_Handler(void) {
	__disable_irq();
	while (1) {
	}
}
